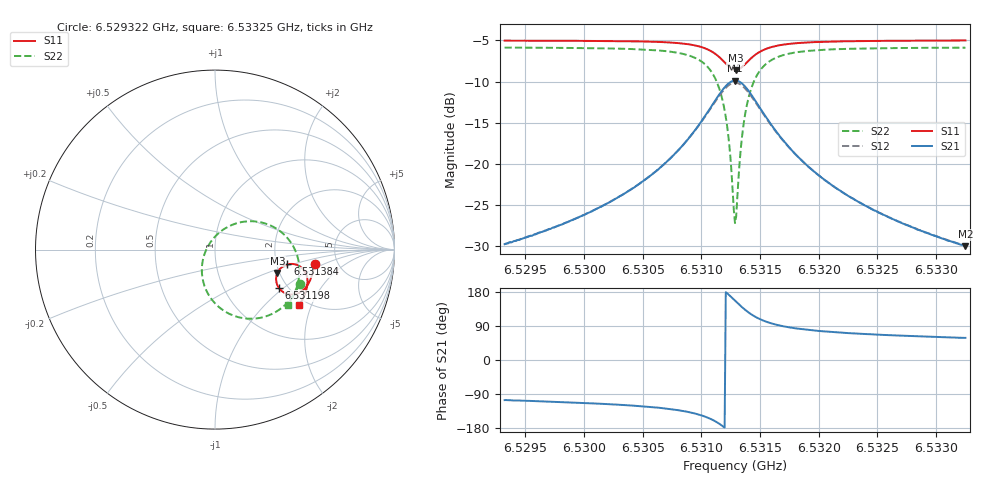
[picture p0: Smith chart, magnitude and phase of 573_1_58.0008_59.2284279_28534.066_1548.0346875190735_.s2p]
#  HZ  S  RI  R  50.00
! Rohde & Schwarz Vector Network Analyzer
! Rohde-Schwarz,ZNB20-2Port,1311601062101988,3.16
! Created: UTC 3/21/2024, 1:15:59 AM
! freq[Hz]  re:S11  im:S11  re:S21  im:S21  re:S12  im:S12  re:S22  im:S22
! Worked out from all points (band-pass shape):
!   401 points, 6.529322 GHz to 6.53325 GHz, reference 50 ohm
!   highest |S21| = -9.87 dB at 6.531286 GHz (marker M1); lowest = -30.0 dB at 6.53325 GHz (marker M2)
!   |S21| within 3 dB of the highest: 6.531091 GHz to 6.531484 GHz (392.7 kHz wide, 0.00601 % of centre)
!   lowest |S11| = -8.6 dB at 6.531296 GHz (marker M3), VSWR 2.18, Z = 97.4 - j29.4 ohm
!   |S11| at or under -10 dB: nowhere
!   |S22| runs from -27.2 to -5.9 dB; largest |S21 - S12| = 0.013
!   S11 on the Smith chart (normalised r, x): 6.529322 GHz: 3.35, -0.80; 6.531198 GHz: 1.80, -0.92; 6.531384 GHz: 2.29, -0.46; 6.53325 GHz: 1.82, -1.64
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6.529322e9  0.5547 -0.0816  -0.00888 -0.0312  -0.00942 -0.0311  0.4713 -0.1914
6.5299799e9  0.5426 -0.1368  -0.019 -0.0443  -0.02 -0.0439  0.438 -0.2527
6.5303335e9  0.5306 -0.17  -0.0314 -0.0573  -0.033 -0.0565  0.4053 -0.2938
6.5306379e9  0.512 -0.2031  -0.0549 -0.0756  -0.0571 -0.0739  0.3519 -0.339
6.5308637e9  0.4833 -0.2322  -0.0971 -0.0945  -0.0998 -0.0911  0.2675 -0.3765
6.5310307e9  0.4375 -0.25  -0.1681 -0.0993  -0.1702 -0.0924  0.1375 -0.3784
6.5311289e9  0.3909 -0.2428  -0.2396 -0.0699  -0.2382 -0.0599  0.0179 -0.3166
6.5311976e9  0.3553 -0.2127  -0.2916 -0.00763  -0.2849 0.00248  -0.0584 -0.2032
6.5312271e9  0.3445 -0.1911  -0.305 0.0329  -0.2957 0.0416  -0.0727 -0.1338
6.5312664e9  0.3406 -0.1565  -0.3046 0.0952  -0.293 0.1003  -0.0609 -0.0319
6.531286e9  0.3444 -0.1387  -0.2949 0.1265  -0.283 0.1294  -0.04 0.0172
6.5312958e9  0.3476 -0.1302  -0.2879 0.141  -0.2761 0.1431  -0.026 0.04
6.5313056e9  0.3517 -0.1222  -0.2796 0.1552  -0.2679 0.1561  -0.00983 0.0613
6.5313449e9  0.375 -0.096  -0.235 0.1994  -0.2254 0.1971  0.0703 0.1261
6.5313842e9  0.4039 -0.0824  -0.1834 0.2223  -0.1762 0.2185  0.1589 0.1552
6.5314529e9  0.4492 -0.083  -0.1044 0.2225  -0.1008 0.219  0.2911 0.1417
6.5315511e9  0.4885 -0.1067  -0.0372 0.1882  -0.0356 0.1864  0.3993 0.0694
6.5316984e9  0.5106 -0.1444  0.00249 0.1383  0.00368 0.1375  0.4573 -0.0305
6.5319439e9  0.5153 -0.1885  0.0186 0.0899  0.0197 0.0895  0.4703 -0.1309
6.5322385e9  0.5088 -0.2246  0.0209 0.0612  0.0218 0.0609  0.4593 -0.1975
6.5326019e9  0.4964 -0.2586  0.0195 0.0429  0.0202 0.0426  0.44 -0.2479
6.53325e9  0.4708 -0.3077  0.0165 0.0269  0.0173 0.0266  0.4053 -0.3067
